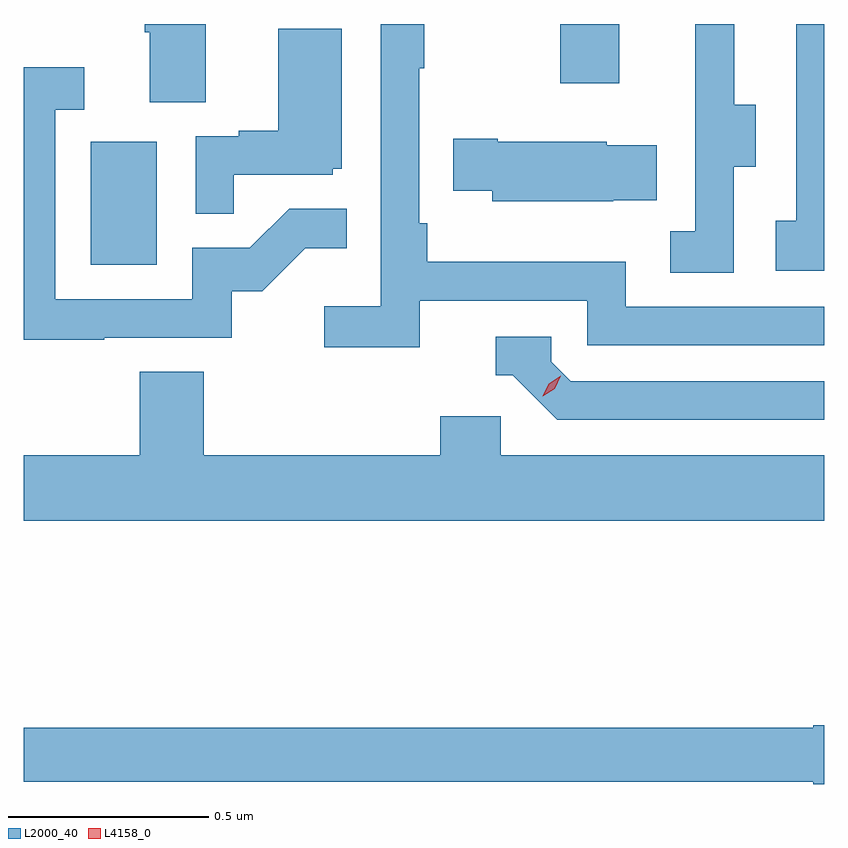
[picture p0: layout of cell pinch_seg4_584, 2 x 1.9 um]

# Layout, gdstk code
import gdstk
lib = gdstk.Library(unit=1e-6, precision=1e-09)
def R(c, l, rs):  # rectangles x0, y0, x1, y1
    for r in rs: c.add(gdstk.rectangle(r[:2], r[2:], *l))
def P(c, l, *ps):  # polygons
    for p in ps: c.add(gdstk.Polygon(p, *l))
L2000_40 = (2000, 40)
L4158_0 = (4158, 0)

pinch_seg4_584 = lib.new_cell('pinch_seg4_584')
R(pinch_seg4_584, L2000_40, [(1028.678,773.484,1028.842,773.791), (1029.85,773.937,1029.997,774.085)])
P(pinch_seg4_584, L2000_40, [(1028.965,774.085),(1028.813,774.085),(1028.813,774.064),(1028.825,774.064),(1028.825,773.89),(1028.965,773.89)],
  [(1029.5,773.394),(1029.918,773.394),(1029.918,773.283),(1030.51,773.283),(1030.51,773.379),(1030.014,773.379),(1030.014,773.491),(1029.518,773.491),(1029.518,773.587),(1029.498,773.587),(1029.498,773.975),(1029.511,773.975),(1029.511,774.085),(1029.402,774.085),(1029.402,773.38),(1029.261,773.38),(1029.261,773.278),(1029.5,773.278)],
  [(1030.51,774.085),(1030.44,774.085),(1030.44,773.594),(1030.389,773.594),(1030.389,773.469),(1030.51,773.469)],
  [(1030.284,773.728),(1030.339,773.728),(1030.339,773.883),(1030.285,773.883),(1030.285,774.085),(1030.187,774.085),(1030.187,773.871),(1030.188,773.871),(1030.188,773.567),(1030.125,773.567),(1030.125,773.464),(1030.284,773.464)],
  [(1029.035,773.709),(1029.282,773.709),(1029.282,773.724),(1029.304,773.724),(1029.304,774.073),(1029.146,774.073),(1029.146,773.818),(1029.047,773.818),(1029.047,773.805),(1028.94,773.805),(1028.94,773.611),(1029.035,773.611)],
  [(1028.711,773.301),(1029.03,773.301),(1029.03,773.418),(1029.106,773.418),(1029.213,773.525),(1029.317,773.525),(1029.317,773.624),(1029.173,773.624),(1029.075,773.526),(1028.931,773.526),(1028.931,773.397),(1028.589,773.397),(1028.589,773.871),(1028.662,773.871),(1028.662,773.977),(1028.51,773.977),(1028.51,773.296),(1028.711,773.296)],
  [(1029.983,773.645),(1030.091,773.645),(1030.091,773.782),(1029.966,773.782),(1029.966,773.791),(1029.694,773.791),(1029.694,773.799),(1029.583,773.799),(1029.583,773.669),(1029.681,773.669),(1029.681,773.642),(1029.983,773.642)],
  [(1030.51,773.193),(1029.876,773.193),(1029.828,773.241),(1029.828,773.304),(1029.689,773.304),(1029.689,773.208),(1029.732,773.208),(1029.843,773.097),(1030.51,773.097)],
  [(1030.51,773.008),(1029.702,773.008),(1029.702,773.106),(1029.551,773.106),(1029.551,773.008),(1028.96,773.008),(1028.96,773.216),(1028.8,773.216),(1028.8,773.008),(1028.51,773.008),(1028.51,772.844),(1030.51,772.844)],
  [(1030.51,772.334),(1030.482,772.334),(1030.482,772.328),(1028.51,772.328),(1028.51,772.192),(1030.482,772.192),(1030.482,772.187),(1030.51,772.187)])
P(pinch_seg4_584, L4158_0, [(1029.806,773.155),(1029.806,773.155),(1029.821,773.187),(1029.851,773.207),(1029.852,773.207),(1029.852,773.207),(1029.836,773.174),(1029.806,773.155)])

lib.write_gds('pinch_seg4_584.gds')
